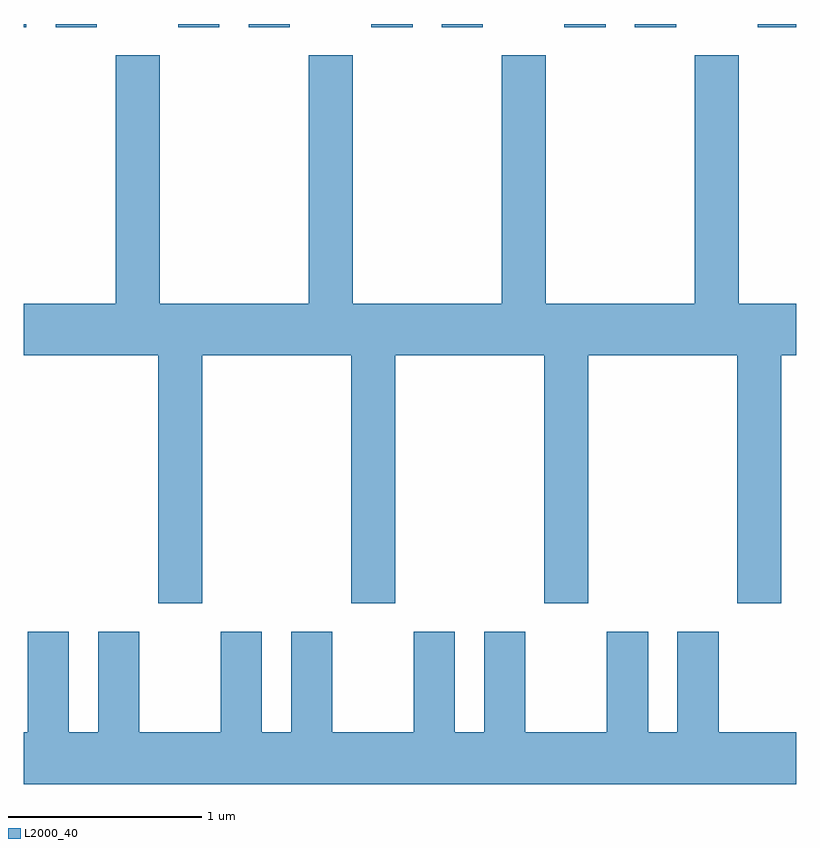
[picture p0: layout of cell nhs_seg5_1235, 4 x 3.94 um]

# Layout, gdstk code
import gdstk
lib = gdstk.Library(unit=1e-6, precision=1e-09)
def R(c, l, rs):  # rectangles x0, y0, x1, y1
    for r in rs: c.add(gdstk.rectangle(r[:2], r[2:], *l))
def P(c, l, *ps):  # polygons
    for p in ps: c.add(gdstk.Polygon(p, *l))
L2000_40 = (2000, 40)

nhs_seg5_1235 = lib.new_cell('nhs_seg5_1235')
R(nhs_seg5_1235, L2000_40, [(221.611,1454.056,221.624,1454.072), (221.776,1454.056,221.989,1454.072), (222.411,1454.056,222.624,1454.072), (222.776,1454.056,222.989,1454.072), (223.411,1454.056,223.624,1454.072), (223.776,1454.056,223.989,1454.072), (224.411,1454.056,224.624,1454.072), (224.776,1454.056,224.989,1454.072), (225.411,1454.056,225.611,1454.072)])
P(nhs_seg5_1235, L2000_40, [(222.534,1452.356),(223.306,1452.356),(223.306,1451.071),(223.534,1451.071),(223.534,1452.356),(224.306,1452.356),(224.306,1451.071),(224.534,1451.071),(224.534,1452.356),(225.306,1452.356),(225.306,1451.071),(225.534,1451.071),(225.534,1452.356),(225.611,1452.356),(225.611,1452.624),(225.314,1452.624),(225.314,1453.909),(225.086,1453.909),(225.086,1452.624),(224.314,1452.624),(224.314,1453.909),(224.086,1453.909),(224.086,1452.624),(223.314,1452.624),(223.314,1453.909),(223.086,1453.909),(223.086,1452.624),(222.314,1452.624),(222.314,1453.909),(222.086,1453.909),(222.086,1452.624),(221.611,1452.624),(221.611,1452.356),(222.306,1452.356),(222.306,1451.071),(222.534,1451.071)],
  [(225.611,1450.404),(225.209,1450.404),(225.209,1450.924),(224.996,1450.924),(224.996,1450.404),(224.844,1450.404),(224.844,1450.924),(224.631,1450.924),(224.631,1450.404),(224.209,1450.404),(224.209,1450.924),(223.996,1450.924),(223.996,1450.404),(223.844,1450.404),(223.844,1450.924),(223.631,1450.924),(223.631,1450.404),(223.209,1450.404),(223.209,1450.924),(222.996,1450.924),(222.996,1450.404),(222.844,1450.404),(222.844,1450.924),(222.631,1450.924),(222.631,1450.404),(222.209,1450.404),(222.209,1450.924),(221.996,1450.924),(221.996,1450.404),(221.844,1450.404),(221.844,1450.924),(221.631,1450.924),(221.631,1450.404),(221.611,1450.404),(221.611,1450.136),(225.611,1450.136)])

lib.write_gds('nhs_seg5_1235.gds')
